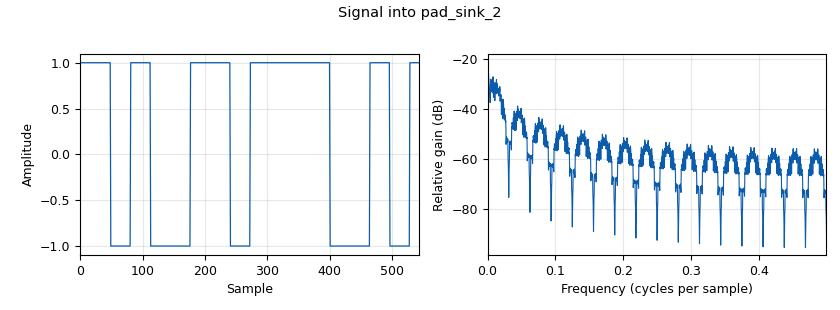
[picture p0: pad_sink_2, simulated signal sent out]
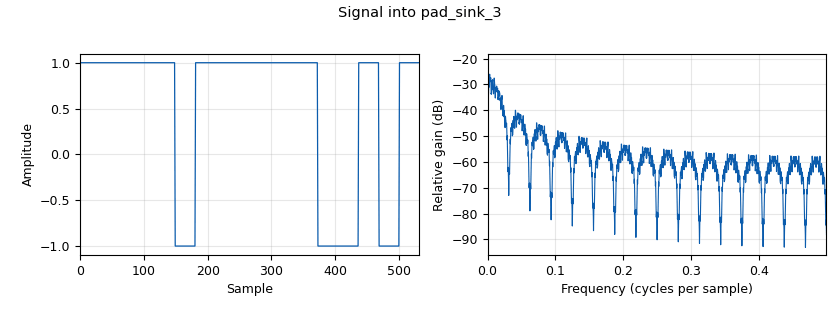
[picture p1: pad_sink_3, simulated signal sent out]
options:
  parameters:
    generate_options: hb
    id: random_bits
    output_language: python
    title: Random Bits
  states: {}

blocks:
- name: analog_random_uniform_source_x_0
  id: analog_random_uniform_source_x
  parameters:
    maximum: '2'
    minimum: '0'
    seed: '0'
    type: byte
  states: {}
- name: blocks_add_const_vxx_0
  id: blocks_add_const_vxx
  parameters:
    const: '-1'
    type: float
  states: {}
- name: blocks_add_const_vxx_0_0
  id: blocks_add_const_vxx
  parameters:
    const: '-1'
    type: float
  states: {}
- name: blocks_char_to_float_0
  id: blocks_char_to_float
  parameters:
    scale: '1'
  states: {}
- name: blocks_char_to_float_0_0
  id: blocks_char_to_float
  parameters:
    scale: '1'
  states: {}
- name: blocks_deinterleave_0
  id: blocks_deinterleave
  parameters:
    type: byte
  states: {}
- name: blocks_delay_0
  id: blocks_delay
  parameters:
    delay: int(samples_per_symbol/2)
    type: byte
  states: {}
- name: blocks_multiply_const_vxx_0
  id: blocks_multiply_const_vxx
  parameters:
    const: '2'
    type: float
  states: {}
- name: blocks_multiply_const_vxx_0_0
  id: blocks_multiply_const_vxx
  parameters:
    const: '2'
    type: float
  states: {}
- name: blocks_repeat_0
  id: blocks_repeat
  parameters:
    interp: int(samples_per_symbol)
    type: byte
  states: {}
- name: blocks_repeat_1
  id: blocks_repeat
  parameters:
    interp: int(samples_per_symbol)
    type: byte
  states: {}
- name: blocks_throttle2_0
  id: blocks_throttle2
  parameters:
    samples_per_second: 2*symb_rate
    type: byte
  states: {}
- name: pad_sink_2
  id: pad_sink
  parameters:
    label: Q
    type: float
  states: {}
- name: pad_sink_3
  id: pad_sink
  parameters:
    label: I
    type: float
  states: {}
- name: samples_per_symbol
  id: parameter
  parameters:
    value: '32'
  states: {}
- name: symb_rate
  id: parameter
  parameters:
    value: '4000'
  states: {}

connections:
- [analog_random_uniform_source_x_0, '0', blocks_throttle2_0, '0']
- [blocks_add_const_vxx_0, '0', pad_sink_3, '0']
- [blocks_add_const_vxx_0_0, '0', pad_sink_2, '0']
- [blocks_char_to_float_0, '0', blocks_multiply_const_vxx_0, '0']
- [blocks_char_to_float_0_0, '0', blocks_multiply_const_vxx_0_0, '0']
- [blocks_deinterleave_0, '0', blocks_repeat_0, '0']
- [blocks_deinterleave_0, '1', blocks_repeat_1, '0']
- [blocks_delay_0, '0', blocks_char_to_float_0_0, '0']
- [blocks_multiply_const_vxx_0, '0', blocks_add_const_vxx_0, '0']
- [blocks_multiply_const_vxx_0_0, '0', blocks_add_const_vxx_0_0, '0']
- [blocks_repeat_0, '0', blocks_char_to_float_0, '0']
- [blocks_repeat_1, '0', blocks_delay_0, '0']
- [blocks_throttle2_0, '0', blocks_deinterleave_0, '0']

metadata:
  file_format: 1
  grc_version: 3.10.9.2
